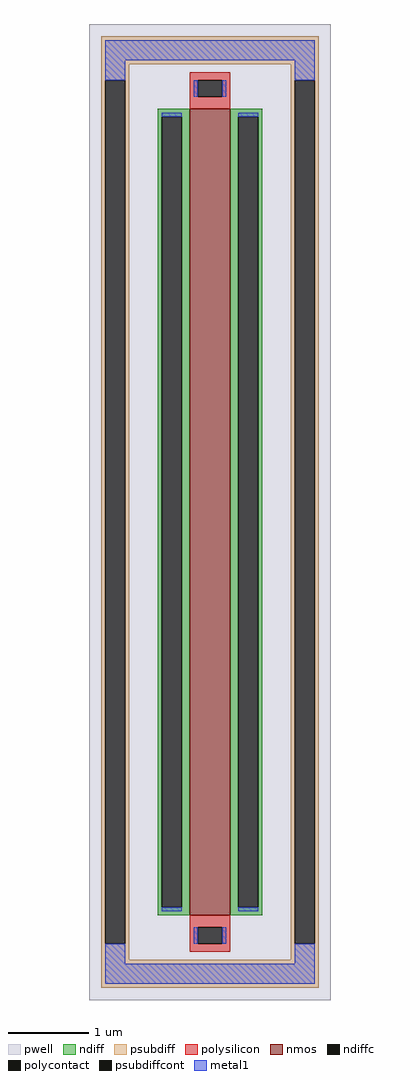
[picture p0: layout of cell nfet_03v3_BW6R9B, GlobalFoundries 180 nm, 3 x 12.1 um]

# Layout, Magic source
magic
tech gf180mcuD
<< pwell >>
rect -30 -121 30 121
<< nmos >>
rect -5 -100 5 100
<< ndiff >>
rect -13 98 -5 100
rect -13 -98 -12 98
rect -7 -98 -5 98
rect -13 -100 -5 -98
rect 5 98 13 100
rect 5 -98 7 98
rect 12 -98 13 98
rect 5 -100 13 -98
<< ndiffc >>
rect -12 -98 -7 98
rect 7 -98 12 98
<< psubdiff >>
rect -27 111 27 118
rect -27 107 -20 111
rect -27 -107 -26 107
rect -21 -107 -20 107
rect 20 107 27 111
rect -27 -111 -20 -107
rect 20 -107 21 107
rect 26 -107 27 107
rect 20 -111 27 -107
rect -27 -118 27 -111
<< psubdiffcont >>
rect -26 -107 -21 107
rect 21 -107 26 107
<< polysilicon >>
rect -5 107 5 109
rect -5 103 -3 107
rect 3 103 5 107
rect -5 100 5 103
rect -5 -103 5 -100
rect -5 -107 -3 -103
rect 3 -107 5 -103
rect -5 -109 5 -107
<< polycontact >>
rect -3 103 3 107
rect -3 -107 3 -103
<< metal1 >>
rect -26 112 26 117
rect -26 107 -21 112
rect -4 103 -3 107
rect 3 103 4 107
rect 21 107 26 112
rect -12 98 -7 99
rect -12 -99 -7 -98
rect 7 98 12 99
rect 7 -99 12 -98
rect -26 -112 -21 -107
rect -4 -107 -3 -103
rect 3 -107 4 -103
rect 21 -112 26 -107
rect -26 -117 26 -112
<< properties >>
string FIXED_BBOX -24 -115 24 115
string gencell nfet_03v3
string library gf180mcu
string parameters w 10.0 l 0.5 m 1 nf 1 diffcov 100 polycov 100 guard 1 glc 1 grc 1 gtc 0 gbc 0 tbcov 100 rlcov 100 topc 1 botc 1 poverlap 0 doverlap 1 lmin 0.28 wmin 0.22 class mosfet full_metal 1 compatible {nfet_03v3 nfet_05v0 nfet_06v0 nfet_06v0_nvt} ad int((nf+1)/2)*W/nf*0.18u as int((nf+2)/2)*W/nf*0.18u pd 2*int((nf+1)/2)*(W/nf+0.18u) ps 2*int((nf+2)/2)*(W/nf+0.18u) nrd 0.18u/W nrs 0.18u/W sa 0 sb 0 sd 0
<< end >>
